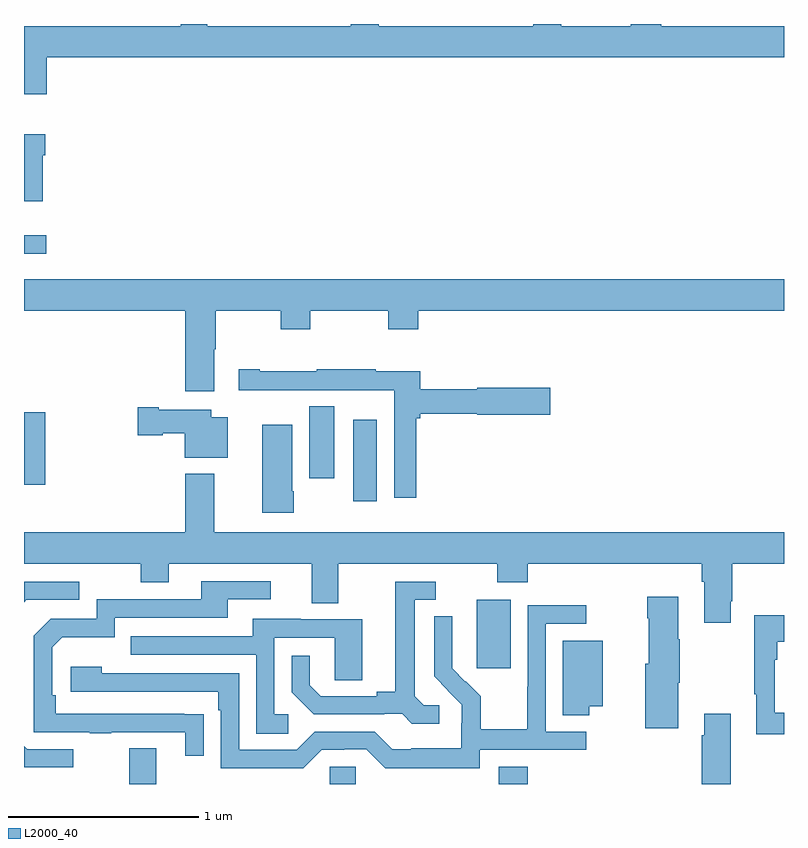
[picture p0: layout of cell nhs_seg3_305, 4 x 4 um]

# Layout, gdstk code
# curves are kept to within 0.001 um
import gdstk
lib = gdstk.Library(unit=1e-6, precision=1e-09)
def R(c, l, rs):  # rectangles x0, y0, x1, y1
    for r in rs: c.add(gdstk.rectangle(r[:2], r[2:], *l))
def P(c, l, *ps):  # polygons
    for p in ps: c.add(gdstk.Polygon(p, *l))
L2000_40 = (2000, 40)

nhs_seg3_305 = lib.new_cell('nhs_seg3_305')
R(nhs_seg3_305, L2000_40, [(125.555,722.4,125.695,722.587), (126.609,722.4,126.747,722.49), (127.499,722.4,127.652,722.491), (127.382,723.009,127.561,723.37), (126.734,723.888,126.856,724.318), (125,723.975,125.111,724.356), (126.5,724.008,126.634,724.388), (125,725.192,125.116,725.289)])
P(nhs_seg3_305, L2000_40, [(129,726.388),(128.354,726.388),(128.354,726.4),(128.194,726.4),(128.194,726.388),(127.827,726.388),(127.827,726.4),(127.68,726.4),(127.68,726.388),(126.867,726.388),(126.867,726.4),(126.719,726.4),(126.719,726.388),(125.965,726.388),(125.965,726.4),(125.825,726.4),(125.825,726.388),(125,726.388),(125,726.03),(125.12,726.03),(125.12,726.224),(129,726.224)],
  [(125.098,725.708),(125.111,725.708),(125.111,725.821),(125,725.821),(125,725.468),(125.098,725.468)],
  [(126.001,724.688),(126.009,724.688),(126.009,724.892),(126.352,724.892),(126.352,724.793),(126.507,724.793),(126.507,724.892),(126.916,724.892),(126.916,724.793),(127.076,724.793),(127.076,724.892),(129,724.892),(129,725.056),(125,725.056),(125,724.892),(125.849,724.892),(125.849,724.467),(126.001,724.467)],
  [(127.064,724.325),(127.086,724.325),(127.086,724.348),(127.386,724.348),(127.386,724.343),(127.771,724.343),(127.771,724.485),(127.386,724.485),(127.386,724.477),(127.086,724.477),(127.086,724.572),(126.851,724.572),(126.851,724.582),(126.541,724.582),(126.541,724.572),(126.241,724.572),(126.241,724.582),(126.129,724.582),(126.129,724.472),(126.404,724.472),(126.404,724.473),(126.738,724.473),(126.738,724.472),(126.948,724.472),(126.948,723.906),(127.064,723.906)],
  [(126.073,724.33),(125.986,724.33),(125.986,724.369),(125.71,724.369),(125.71,724.382),(125.598,724.382),(125.598,724.235),(125.73,724.235),(125.73,724.247),(125.846,724.247),(125.846,724.118),(126.073,724.118)],
  [(126.42,723.94),(126.412,723.94),(126.412,724.291),(126.254,724.291),(126.254,723.828),(126.42,723.828)],
  [(128.719,723.361),(128.727,723.361),(128.727,723.56),(129,723.56),(129,723.724),(126.001,723.724),(126.001,724.033),(125.849,724.033),(125.849,723.724),(125,723.724),(125,723.56),(125.614,723.56),(125.614,723.461),(125.761,723.461),(125.761,723.56),(126.515,723.56),(126.515,723.352),(126.655,723.352),(126.655,723.56),(127.492,723.56),(127.492,723.461),(127.652,723.461),(127.652,723.56),(128.567,723.56),(128.567,723.464),(128.579,723.464),(128.579,723.249),(128.719,723.249)],
  [(125.945,722.768),(125.168,722.769),(125.168,722.866),(125.148,722.866),(125.148,723.12),(125.201,723.173),(125.478,723.173),(125.478,723.276),(126.073,723.276),(126.073,723.372),(126.298,723.372),(126.298,723.468),(125.933,723.468),(125.933,723.372),(125.382,723.372),(125.382,723.27),(125.142,723.27),(125.052,723.18),(125.052,722.673),(125.347,722.673),(125.347,722.668),(125.459,722.668),(125.459,722.673),(125.849,722.673),(125.849,722.55),(125.945,722.55)],
  [(125.013,723.369),(125.29,723.369),(125.29,723.465),(125,723.465),(125,723.356)],
  [(127.186,722.814),(127.104,722.814),(127.057,722.861),(127.057,723.369),(127.168,723.369),(127.168,723.465),(126.953,723.465),(126.953,722.885),(126.857,722.885),(126.857,722.862),(126.562,722.862),(126.505,722.919),(126.505,723.076),(126.408,723.076),(126.408,722.882),(126.524,722.766),(126.896,722.766),(126.896,722.769),(126.99,722.769),(127.042,722.717),(127.186,722.717)],
  [(128.443,722.933),(128.451,722.933),(128.451,723.161),(128.443,723.161),(128.443,723.385),(128.281,723.385),(128.281,723.272),(128.288,723.272),(128.288,723.033),(128.27,723.033),(128.27,722.693),(128.443,722.693)],
  [(127.398,722.58),(127.96,722.58),(127.96,722.676),(127.746,722.676),(127.746,723.243),(127.96,723.243),(127.96,723.342),(127.65,723.342),(127.65,722.912),(127.648,722.912),(127.648,722.689),(127.403,722.689),(127.403,722.863),(127.326,722.94),(127.323,722.937),(127.253,723.008),(127.254,723.284),(127.158,723.284),(127.158,722.966),(127.304,722.818),(127.304,722.721),(127.302,722.721),(127.302,722.587),(127.039,722.587),(127.039,722.583),(126.939,722.583),(126.846,722.676),(126.531,722.676),(126.435,722.58),(126.132,722.58),(126.132,722.982),(125.408,722.982),(125.408,723.016),(125.247,723.016),(125.247,722.886),(126.023,722.886),(126.023,722.789),(126.036,722.789),(126.036,722.484),(126.471,722.484),(126.567,722.58),(126.686,722.58),(126.686,722.583),(126.801,722.583),(126.901,722.483),(127.398,722.483)],
  [(129,722.774),(128.952,722.774),(128.952,723.053),(128.965,723.053),(128.965,723.149),(129,723.149),(129,723.289),(128.844,723.289),(128.844,722.873),(128.855,722.873),(128.855,722.661),(129,722.661)],
  [(126.391,722.766),(126.318,722.766),(126.318,723.171),(126.636,723.171),(126.636,722.947),(126.781,722.947),(126.781,723.267),(126.457,723.267),(126.457,723.271),(126.203,723.271),(126.203,723.177),(125.563,723.177),(125.563,723.081),(126.222,723.081),(126.222,722.665),(126.391,722.665)],
  [(127.974,722.81),(128.047,722.81),(128.047,723.154),(127.835,723.154),(127.835,722.761),(127.974,722.761)],
  [(128.719,722.77),(128.579,722.77),(128.579,722.657),(128.567,722.657),(128.567,722.4),(128.719,722.4)],
  [(125.26,722.583),(125.016,722.583),(125,722.599),(125,722.487),(125.26,722.487)])

lib.write_gds('nhs_seg3_305.gds')
